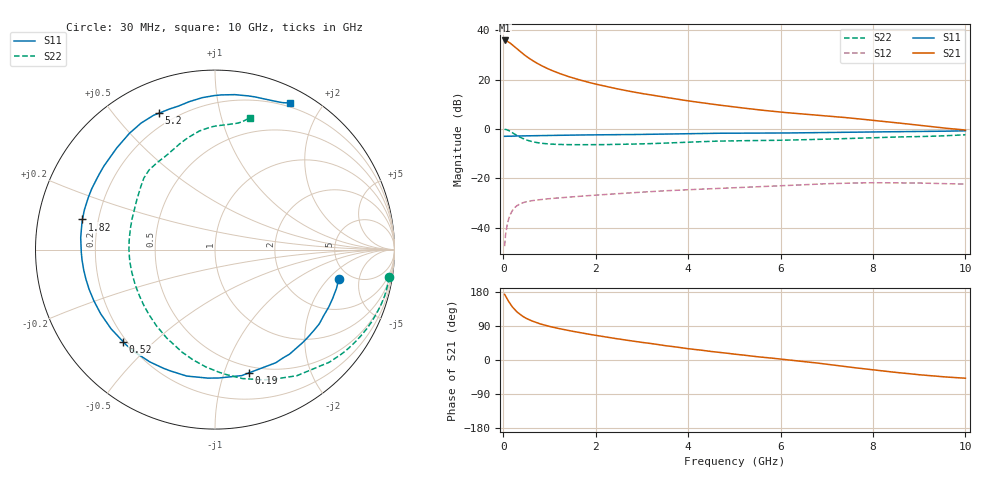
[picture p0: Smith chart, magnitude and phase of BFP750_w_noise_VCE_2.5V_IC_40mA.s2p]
! Infineon Technologies  Discrete & RF Semiconductors
! BFP750
! VCE =  2.5 V,  IC =  40 mA
! Common Emitter S-Parameters:  Jan 2016
# GHz  S  MA  R  50
!  f  S11  S21  S12  S22
! GHz  MAG  ANG  MAG  ANG  MAG  ANG  MAG  ANG
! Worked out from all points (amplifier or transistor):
!   229 points, 30 MHz to 10 GHz, reference 50 ohm
!   highest |S21| = 35.9 dB at 30 MHz (marker M1)
!   |S21| within 3 dB of that: start of sweep to 274.1 MHz
!   unconditionally stable (mu >= 1): 4.196 GHz to end of sweep
!   at 280 MHz: K = 0.15, MSG = 32.1 dB, |S12| = -31.4 dB
!   at 1.78 GHz: K = 0.66, MSG = 23.2 dB, |S12| = -27.1 dB
!   at 10 GHz: K = 1.06, MAG = 9.5 dB, |S12| = -22.4 dB
!   lowest NFmin = 0.94 dB at 450 MHz
!   S11 on the Smith chart (normalised r, x): 30 MHz: 4.03, -2.65; 190 MHz: 0.43, -1.21; 520 MHz: 0.19, -0.40; 1.82 GHz: 0.14, +0.11; 5.2 GHz: 0.14, +0.66; 10 GHz: 0.16, +1.62
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0.03  0.7082 -13.4  62.2 173.2  0.0042 83.5  0.9831 -8.9
0.06  0.71 -26.8  61.59 166.4  0.0082 79.1  0.9745 -18.4
0.11  0.712 -46.9  58.29 155.9  0.0141 68.6  0.935 -33.5
0.15  0.7157 -61.7  55.1 148.2  0.0182 62.5  0.8938 -44.6
0.19  0.7126 -74.8  51.32 141.6  0.0215 56.6  0.8457 -54.4
0.26  0.7171 -93.2  45.22 131.7  0.026 48.6  0.7721 -70.0
0.34  0.7202 -110.1  38.91 122.7  0.0294 41.7  0.6991 -84.8
0.44  0.7232 -125.6  32.64 113.9  0.0322 35.7  0.631 -99.9
0.52  0.7248 -134.9  28.73 108.7  0.0337 32.4  0.5911 -109.7
0.6  0.728 -142.7  25.47 104.0  0.0349 29.8  0.5618 -118.5
0.7  0.7305 -150.6  22.3 99.4  0.036 27.5  0.5354 -127.5
0.9  0.7354 -162.3  17.75 91.9  0.0378 24.5  0.5043 -141.6
1.2  0.7432 -175.0  13.5 83.1  0.04 22.2  0.4851 -157.0
1.7  0.7544 170.1  9.595 71.4  0.0434 20.3  0.4789 -174.2
1.82  0.7572 167.2  8.948 68.8  0.0442 19.9  0.4789 -177.5
2.6  0.7669 150.3  6.123 53.5  0.0495 17.3  0.488 163.8
3.4  0.7834 135.9  4.536 39.9  0.055 13.9  0.5115 149.3
5.1  0.8222 113.5  2.718 14.3  0.065 5.6  0.5766 128.5
5.2  0.822 112.3  2.65 12.9  0.0655 5.0  0.5775 127.3
6.8  0.8435 96.8  1.899 -8.1  0.076 -4.9  0.6135 110.2
8.4  0.8762 77.8  1.365 -31.4  0.081 -19.5  0.6826 92.2
10  0.9165 63.0  0.949 -48.1  0.0761 -30.7  0.7615 75.1
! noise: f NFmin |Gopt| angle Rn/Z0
0.45  0.94  0.16  -166  0.41
0.9  0.96  0.2  -161  0.2
1.5  0.98  0.29  -157  0.08
1.9  0.99  0.31  -152  0.07
2.4  1  0.32  -145  0.08
3.5  1.23  0.35  -131  0.09
